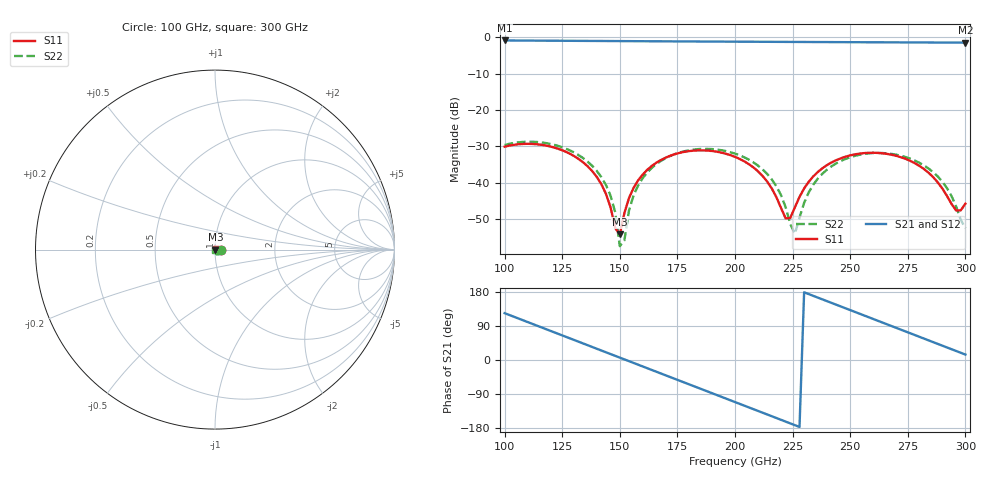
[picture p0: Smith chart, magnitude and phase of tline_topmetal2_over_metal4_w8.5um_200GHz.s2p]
#  GHZ S DB R 50
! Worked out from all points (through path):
!   101 points, 100 GHz to 300 GHz, reference 50 ohm
!   highest |S21| = -0.91 dB at 100 GHz (marker M1); lowest = -1.5 dB at 300 GHz (marker M2)
!   group delay of S21, straight-line fit = 6.52 ps
!   lowest |S11| = -54.2 dB at 150 GHz (marker M3), VSWR 1.00, Z = 50.2 + j0.0186 ohm
!   |S11| at or under -10 dB: start of sweep to end of sweep
!   |S22| runs from -57.4 to -28.7 dB; largest |S21 - S12| = 1e-13
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100  -30.08 -2.0  -0.91 123.6  -0.91 123.6  -29.60 -6.5
116  -29.55 -35.6  -0.96 86.1  -0.96 86.1  -28.90 -41.7
134  -34.32 -72.3  -1.02 43.8  -1.02 43.8  -33.17 -83.0
142  -40.37 -84.5  -1.05 25.0  -1.05 25.0  -38.42 -102.6
146  -46.75 -81.5  -1.07 15.7  -1.07 15.7  -43.55 -114.2
148  -52.39 -61.9  -1.07 11.0  -1.07 11.0  -48.07 -122.7
150  -54.16 5.4  -1.08 6.3  -1.08 6.3  -57.37 -146.4
152  -48.25 36.6  -1.09 1.6  -1.09 1.6  -55.74 81.0
154  -44.15 42.6  -1.09 -3.1  -1.09 -3.1  -47.54 61.9
158  -39.28 41.0  -1.11 -12.5  -1.11 -12.5  -40.66 47.8
168  -33.67 23.7  -1.14 -35.9  -1.14 -35.9  -33.91 22.5
184  -31.08 -9.0  -1.19 -73.4  -1.19 -73.4  -30.74 -15.5
200  -32.86 -41.4  -1.24 -111.0  -1.24 -111.0  -31.96 -54.0
216  -41.58 -62.1  -1.28 -148.5  -1.28 -148.5  -39.09 -97.4
222  -49.77 -25.5  -1.30 -162.6  -1.30 -162.6  -46.71 -126.5
226  -46.71 32.8  -1.31 -172.0  -1.31 -172.0  -53.96 147.2
234  -38.21 42.8  -1.34 169.2  -1.34 169.2  -40.47 62.2
248  -32.80 19.7  -1.38 136.4  -1.38 136.4  -33.42 22.0
268  -32.28 -19.8  -1.43 89.5  -1.43 89.5  -32.05 -28.0
288  -39.85 -48.4  -1.48 42.5  -1.48 42.5  -38.24 -82.1
296  -47.58 -13.2  -1.50 23.7  -1.50 23.7  -46.52 -120.4
300  -45.71 30.7  -1.51 14.3  -1.51 14.3  -52.48 168.7
